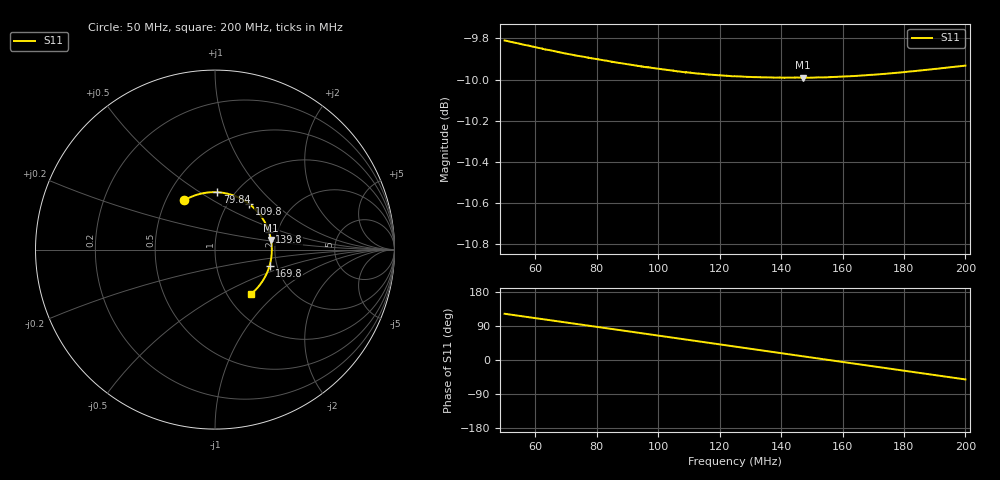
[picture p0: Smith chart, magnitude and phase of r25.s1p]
! COPPER MOUNTAIN TECHNOLOGIES, PLANAR TR1300/1, 00071119, 20.2.2/1.0
! Date: 12/11/2023 3:20:41 PM
! Data: Format [Calibration Info]
! Freq  S11: Re/Im F1
# HZ S RI R 50
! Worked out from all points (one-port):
!   12288 points, 50 MHz to 200 MHz, reference 50 ohm
!   lowest |S11| = -10.0 dB at 147.1 MHz (marker M1), VSWR 1.93, Z = 94.4 + j11.3 ohm
!   |S11| at or under -10 dB: nowhere
!   S11 on the Smith chart (normalised r, x): 50 MHz: 0.62, +0.38; 79.84 MHz: 0.83, +0.59; 109.8 MHz: 1.25, +0.71; 139.8 MHz: 1.80, +0.40; 169.8 MHz: 1.83, -0.37; 200 MHz: 1.28, -0.71
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5e7  -0.1714 0.2741
5.301538e7  -0.1543 0.2836
5.979084e7  -0.1143 0.3011
6.442989e7  -0.0857 0.3099
6.875153e7  -0.0584 0.3156
7.447709e7  -0.0217 0.3197
7.983641e7  0.0127 0.3196
8.750305e7  0.0616 0.3132
9.217873e7  0.0907 0.3056
9.686661e7  0.119 0.2953
1.014568e8  0.1457 0.2827
1.062546e8  0.1721 0.267
1.097705e8  0.1905 0.254
1.176569e8  0.2282 0.2201
1.250061e8  0.2582 0.1837
1.32514e8  0.2828 0.1424
1.397656e8  0.3006 0.0995
1.437576e8  0.3076 0.0749
1.470904e8  0.3119 0.054
1.548547e8  0.3166 0.00454
1.625092e8  0.3137 -0.0443
1.698462e8  0.304 -0.0903
1.755107e8  0.2919 -0.1244
1.812607e8  0.2759 -0.1574
1.863148e8  0.2587 -0.1848
1.915276e8  0.2382 -0.211
1.967893e8  0.2149 -0.2351
2e8  0.1995 -0.2485
